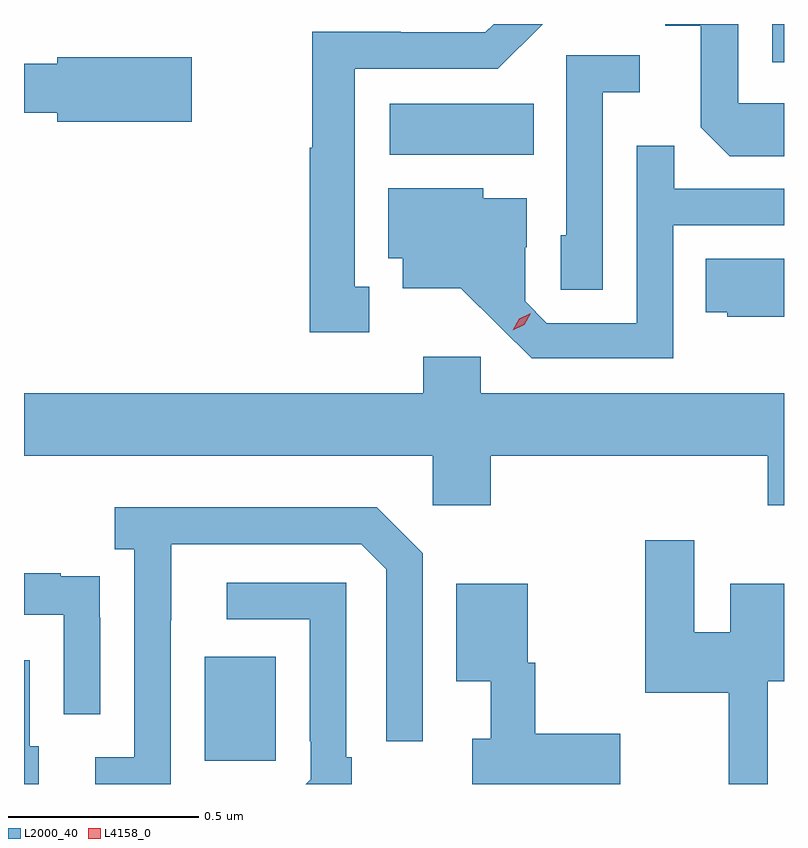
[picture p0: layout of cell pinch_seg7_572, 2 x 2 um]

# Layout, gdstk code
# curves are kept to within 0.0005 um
import gdstk
lib = gdstk.Library(unit=1e-6, precision=1e-09)
def R(c, l, rs):  # rectangles x0, y0, x1, y1
    for r in rs: c.add(gdstk.rectangle(r[:2], r[2:], *l))
def P(c, l, *ps):  # polygons
    for p in ps: c.add(gdstk.Polygon(p, *l))
L2000_40 = (2000, 40)
L4158_0 = (4158, 0)

pinch_seg7_572 = lib.new_cell('pinch_seg7_572')
R(pinch_seg7_572, L2000_40, [(138.443,1057.089,138.631,1057.363), (138.93,1058.684,139.31,1058.818), (139.937,1058.928,139.968,1059.028)])
P(pinch_seg7_572, L2000_40, [(138.877,1058.337),(138.838,1058.337),(138.838,1058.91),(139.215,1058.91),(139.333,1059.028),(139.204,1059.028),(139.182,1059.006),(138.96,1059.006),(138.96,1059.008),(138.727,1059.008),(138.727,1058.703),(138.72,1058.703),(138.72,1058.217),(138.877,1058.217)],
  [(139.968,1058.82),(139.848,1058.82),(139.848,1059.028),(139.655,1059.028),(139.655,1059.024),(139.749,1059.024),(139.749,1058.756),(139.825,1058.68),(139.968,1058.68)],
  [(139.491,1058.849),(139.588,1058.849),(139.588,1058.946),(139.395,1058.946),(139.395,1058.472),(139.38,1058.472),(139.38,1058.329),(139.491,1058.329)],
  [(138.409,1058.941),(138.056,1058.941),(138.056,1058.923),(137.968,1058.923),(137.968,1058.794),(138.056,1058.794),(138.056,1058.771),(138.409,1058.771)],
  [(139.677,1058.499),(139.968,1058.499),(139.968,1058.595),(139.679,1058.595),(139.679,1058.708),(139.581,1058.708),(139.581,1058.241),(139.344,1058.241),(139.287,1058.298),(139.287,1058.44),(139.291,1058.44),(139.291,1058.569),(139.176,1058.569),(139.176,1058.596),(138.926,1058.596),(138.926,1058.412),(138.965,1058.412),(138.965,1058.333),(139.117,1058.333),(139.304,1058.148),(139.677,1058.148)],
  [(139.968,1058.41),(139.762,1058.41),(139.762,1058.27),(139.818,1058.27),(139.818,1058.258),(139.968,1058.258)],
  [(139.196,1057.892),(139.925,1057.892),(139.925,1057.761),(139.968,1057.761),(139.968,1058.056),(139.17,1058.056),(139.17,1058.152),(139.019,1058.152),(139.019,1058.056),(137.968,1058.056),(137.968,1057.892),(139.044,1057.892),(139.044,1057.761),(139.196,1057.761)],
  [(138.354,1057.459),(138.355,1057.459),(138.355,1057.659),(138.855,1057.659),(138.921,1057.593),(138.921,1057.14),(139.017,1057.14),(139.017,1057.635),(138.896,1057.756),(138.207,1057.756),(138.207,1057.646),(138.258,1057.646),(138.258,1057.098),(138.156,1057.098),(138.156,1057.028),(138.354,1057.028)],
  [(139.925,1057.298),(139.968,1057.298),(139.968,1057.555),(139.826,1057.555),(139.826,1057.428),(139.732,1057.428),(139.732,1057.669),(139.603,1057.669),(139.603,1057.268),(139.822,1057.268),(139.822,1057.028),(139.925,1057.028)],
  [(138.168,1057.466),(138.167,1057.466),(138.167,1057.575),(138.065,1057.575),(138.065,1057.582),(137.968,1057.582),(137.968,1057.473),(138.072,1057.473),(138.072,1057.212),(138.168,1057.212)],
  [(138.831,1057.099),(138.816,1057.099),(138.816,1057.557),(138.501,1057.557),(138.501,1057.461),(138.72,1057.461),(138.72,1057.141),(138.723,1057.141),(138.723,1057.041),(138.71,1057.028),(138.831,1057.028)],
  [(139.537,1057.16),(139.313,1057.16),(139.313,1057.347),(139.294,1057.347),(139.294,1057.555),(139.106,1057.555),(139.106,1057.298),(139.196,1057.298),(139.196,1057.147),(139.148,1057.147),(139.148,1057.028),(139.537,1057.028)],
  [(138.007,1057.128),(137.983,1057.128),(137.983,1057.354),(137.968,1057.354),(137.968,1057.028),(138.007,1057.028)])
P(pinch_seg7_572, L4158_0, [(139.254,1058.222),(139.254,1058.222),(139.271,1058.252),(139.301,1058.267),(139.301,1058.267),(139.301,1058.267),(139.285,1058.237),(139.254,1058.222)])

lib.write_gds('pinch_seg7_572.gds')
